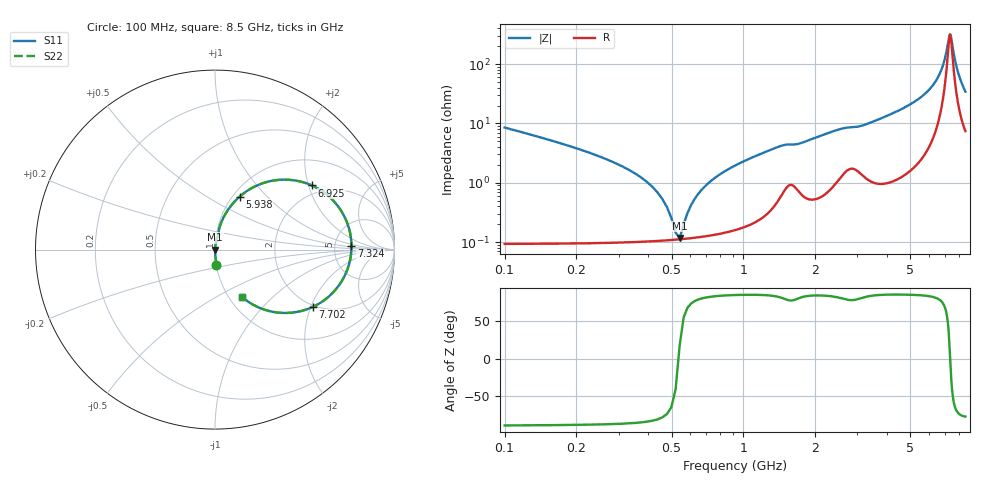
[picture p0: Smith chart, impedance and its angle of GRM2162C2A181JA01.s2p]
!Murata Part Number: GRM2162C2A181JA01
!These Parameters are Measured in Series Mode Connection
!Data Generated on Mar 30, 2021
!  o--ll--o
!Port1  Port2
!  o------o
!Operation Temp=25[degC], DC Bias Voltage=0[V]
!Freq. Start=100[MHz] Stop=9[GHz] 401[Steps]
# Hz S RI R 50
!Freq.(Hz) S11(Real) S11(Imag) S21(Real) S21(Imag) S12(Real) S12(Imag) S22(Real) S22(Imag)
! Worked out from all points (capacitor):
!   401 points, 100 MHz to 8.5 GHz, reference 50 ohm
!   read as one part in series: C = 180 pF near 142 MHz
!   lowest |Z| = 117 mohm at 541 MHz (marker M1)
!   series resonance near 535.1 MHz, so ESL is about 490 pH
!   S11 on the Smith chart (normalised r, x): 100 MHz: 1.00, -0.17; 5.938 GHz: 1.08, +0.71; 6.925 GHz: 1.71, +2.11; 7.324 GHz: 7.30, +0.62; 7.702 GHz: 1.94, -2.07; 8.5 GHz: 1.15, -0.67
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1e8  0.00814 -0.0846  0.9919 0.0846  0.9919 0.0846  0.00814 -0.0846
3.94e8  0.00113 -0.0103  0.9989 0.0103  0.9989 0.0103  0.00113 -0.0103
4.57e8  0.00108 -0.00525  0.9989 0.00525  0.9989 0.00525  0.00108 -0.00525
4.99e8  0.00109 -0.00232  0.9989 0.00232  0.9989 0.00232  0.00109 -0.00232
5.41e8  0.00111 0.000369  0.9989 -0.000369  0.9989 -0.000369  0.00111 0.000369
5.62e8  0.00113 0.00164  0.9989 -0.00164  0.9989 -0.00164  0.00113 0.00164
6.25e8  0.00121 0.00521  0.9988 -0.00521  0.9988 -0.00521  0.00121 0.00521
6.67e8  0.00128 0.00743  0.9987 -0.00743  0.9987 -0.00743  0.00128 0.00743
8.14e8  0.00161 0.0145  0.9984 -0.0145  0.9984 -0.0145  0.00161 0.0145
1.108e9  0.00285 0.0273  0.9971 -0.0273  0.9971 -0.0273  0.00285 0.0273
1.507e9  0.0098 0.0424  0.9902 -0.0424  0.9902 -0.0424  0.0098 0.0424
2.914e9  0.0236 0.082  0.9764 -0.082  0.9764 -0.082  0.0236 0.082
4.3e9  0.0331 0.1469  0.9669 -0.1469  0.9669 -0.1469  0.0331 0.1469
5.707e9  0.107 0.2655  0.893 -0.2655  0.893 -0.2655  0.107 0.2655
5.938e9  0.1373 0.2953  0.8627 -0.2953  0.8627 -0.2953  0.1373 0.2953
6.484e9  0.2781 0.3738  0.7219 -0.3738  0.7219 -0.3738  0.2781 0.3738
6.925e9  0.5398 0.3574  0.4602 -0.3574  0.4602 -0.3574  0.5398 0.3574
7.114e9  0.6816 0.2464  0.3184 -0.2464  0.3184 -0.2464  0.6816 0.2464
7.324e9  0.7604 0.0179  0.2396 -0.0179  0.2396 -0.0179  0.7604 0.0179
7.702e9  0.5449 -0.3193  0.4551 0.3193  0.4551 0.3193  0.5449 -0.3193
8.08e9  0.289 -0.3388  0.711 0.3388  0.711 0.3388  0.289 -0.3388
8.5e9  0.1519 -0.2647  0.8481 0.2647  0.8481 0.2647  0.1519 -0.2647
